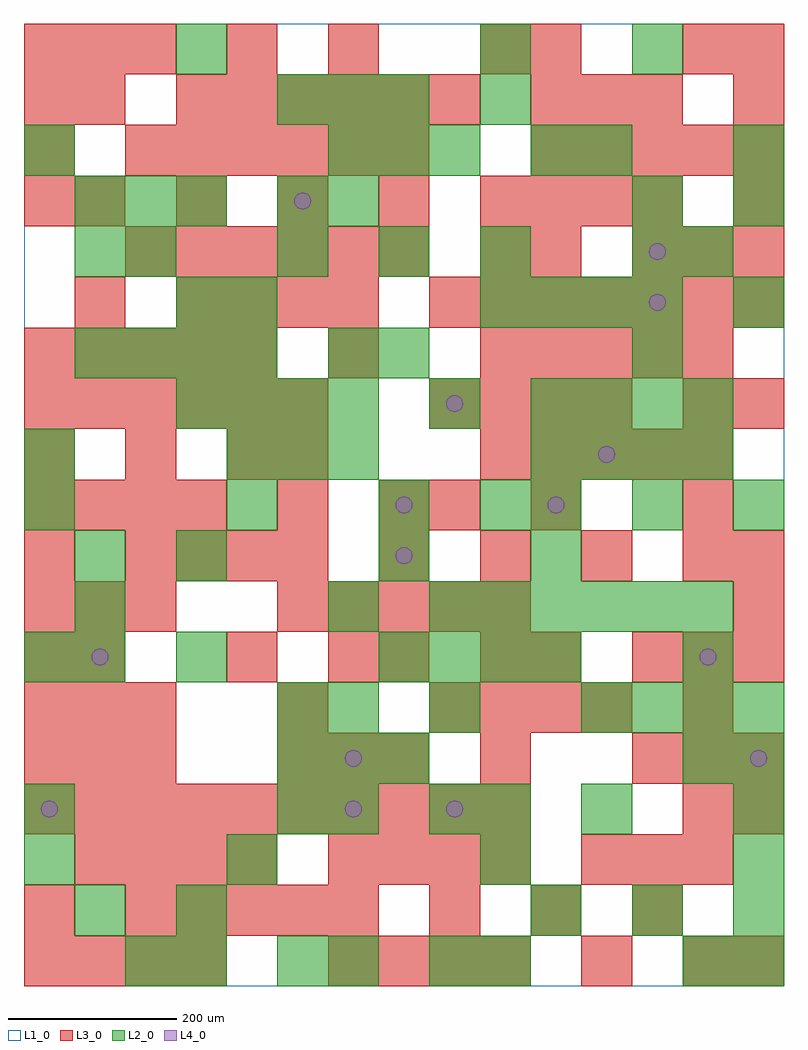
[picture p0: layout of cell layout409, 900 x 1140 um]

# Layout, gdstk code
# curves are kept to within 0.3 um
import gdstk
lib = gdstk.Library(unit=1e-6, precision=1e-09)
def R(c, l, rs):  # rectangles x0, y0, x1, y1
    for r in rs: c.add(gdstk.rectangle(r[:2], r[2:], *l))
def A(c, l, x, y, w, h, nx, ny, dx, dy):  # array of equal rectangles
    R(c, l, [(x+i*dx, y+j*dy, x+i*dx+w, y+j*dy+h) for i in range(nx) for j in range(ny)])
def P(c, l, *ps):  # polygons
    for p in ps: c.add(gdstk.Polygon(p, *l))
L1_0 = (1, 0)
L2_0 = (2, 0)
L3_0 = (3, 0)
L4_0 = (4, 0)

layout409 = lib.new_cell('layout409')
R(layout409, L1_0, [(0,0,900,1140)])
A(layout409, L2_0, 600, 60, 60, 60, 3, 2, 120, 480)
A(layout409, L2_0, 240, 120, 60, 60, 3, 1, 300, 0)
A(layout409, L2_0, 0, 180, 60, 60, 1, 3, 0, 180)
A(layout409, L2_0, 360, 180, 60, 60, 1, 3, 0, 120)
A(layout409, L2_0, 300, 240, 60, 60, 3, 2, 60, 780)
A(layout409, L2_0, 660, 300, 60, 60, 4, 1, 60, 0)
A(layout409, L2_0, 60, 360, 60, 60, 1, 3, 0, 60)
A(layout409, L2_0, 420, 360, 60, 60, 4, 1, 60, 0)
A(layout409, L2_0, 480, 420, 60, 60, 6, 1, 60, 0)
A(layout409, L2_0, 180, 480, 60, 60, 1, 3, 0, 300)
A(layout409, L2_0, 240, 600, 60, 60, 3, 1, 60, 0)
A(layout409, L2_0, 600, 600, 60, 60, 4, 2, 60, 60)
A(layout409, L2_0, 180, 660, 60, 60, 4, 1, 60, 0)
A(layout409, L2_0, 60, 720, 60, 60, 4, 1, 60, 0)
A(layout409, L2_0, 540, 780, 60, 60, 4, 1, 60, 0)
A(layout409, L2_0, 300, 840, 60, 60, 3, 1, 120, 0)
A(layout409, L2_0, 60, 900, 60, 60, 3, 1, 60, 0)
A(layout409, L2_0, 360, 960, 60, 60, 3, 1, 60, 0)
R(layout409, L2_0, [(120,0,180,60), (180,0,240,60), (300,0,360,60), (360,0,420,60), (480,0,540,60), (540,0,600,60), (780,0,840,60), (840,0,900,60), (60,60,120,120), (180,60,240,120), (0,120,60,180), (300,180,360,240), (480,180,540,240), (540,180,600,240), (660,180,720,240), (840,180,900,240), (780,240,840,300), (840,240,900,300), (300,300,360,360), (480,300,540,360), (180,360,240,420), (780,360,840,420), (420,480,480,540), (600,480,660,540), (240,540,300,600), (420,540,480,600), (540,540,600,600), (0,600,60,660), (480,660,540,720), (360,720,420,780), (420,720,480,780), (720,720,780,780), (240,780,300,840), (840,780,900,840), (60,840,120,900), (120,840,180,900), (720,840,780,900), (780,840,840,900), (300,900,360,960), (360,900,420,960), (720,900,780,960), (840,900,900,960), (0,960,60,1020), (600,960,660,1020), (660,960,720,1020), (840,960,900,1020), (540,1020,600,1080), (540,1080,600,1140), (720,1080,780,1140)])
A(layout409, L3_0, 0, 0, 60, 60, 4, 2, 60, 540)
A(layout409, L3_0, 360, 0, 60, 60, 4, 2, 60, 120)
A(layout409, L3_0, 120, 60, 60, 60, 5, 1, 60, 0)
A(layout409, L3_0, 480, 60, 60, 60, 3, 1, 120, 0)
A(layout409, L3_0, 60, 120, 60, 60, 4, 1, 60, 0)
A(layout409, L3_0, 660, 120, 60, 60, 3, 1, 60, 0)
A(layout409, L3_0, 0, 180, 60, 60, 10, 1, 60, 0)
A(layout409, L3_0, 0, 240, 60, 60, 3, 2, 60, 60)
A(layout409, L3_0, 300, 240, 60, 60, 3, 1, 60, 0)
A(layout409, L3_0, 720, 240, 60, 60, 3, 2, 60, 120)
A(layout409, L3_0, 480, 300, 60, 60, 4, 2, 60, 360)
A(layout409, L3_0, 360, 360, 60, 60, 1, 3, 0, 360)
A(layout409, L3_0, 0, 420, 60, 60, 3, 2, 60, 660)
A(layout409, L3_0, 300, 420, 60, 60, 5, 1, 60, 0)
A(layout409, L3_0, 120, 480, 60, 60, 4, 1, 60, 0)
A(layout409, L3_0, 420, 480, 60, 60, 4, 1, 120, 0)
A(layout409, L3_0, 0, 600, 60, 60, 3, 1, 120, 0)
A(layout409, L3_0, 540, 600, 60, 60, 5, 2, 60, 120)
A(layout409, L3_0, 0, 660, 60, 60, 6, 1, 60, 0)
A(layout409, L3_0, 0, 720, 60, 60, 5, 1, 60, 0)
A(layout409, L3_0, 180, 780, 60, 60, 4, 1, 60, 0)
A(layout409, L3_0, 480, 780, 60, 60, 7, 1, 60, 0)
A(layout409, L3_0, 120, 840, 60, 60, 6, 2, 60, 120)
A(layout409, L3_0, 720, 840, 60, 60, 3, 1, 60, 0)
A(layout409, L3_0, 0, 900, 60, 60, 1, 3, 0, 60)
A(layout409, L3_0, 60, 900, 60, 60, 5, 1, 120, 0)
A(layout409, L3_0, 600, 900, 60, 60, 3, 2, 60, 120)
A(layout409, L3_0, 600, 960, 60, 60, 5, 1, 60, 0)
A(layout409, L3_0, 180, 1020, 60, 60, 6, 1, 60, 0)
R(layout409, L3_0, [(660,0,720,60), (780,0,840,60), (840,0,900,60), (0,60,60,120), (780,180,840,240), (840,180,900,240), (540,240,600,300), (300,300,360,360), (780,300,840,360), (0,360,60,420), (60,360,120,420), (240,360,300,420), (420,360,480,420), (540,360,600,420), (600,360,660,420), (840,420,900,480), (0,480,60,540), (840,480,900,540), (300,540,360,600), (420,540,480,600), (480,540,540,600), (600,540,660,600), (780,540,840,600), (300,600,360,660), (780,660,840,720), (840,660,900,720), (60,780,120,840), (540,840,600,900), (600,840,660,900), (840,900,900,960), (60,1020,120,1080), (840,1020,900,1080), (240,1080,300,1140), (540,1080,600,1140), (600,1080,660,1140), (780,1080,840,1140), (840,1080,900,1140)])
P(layout409, L4_0, [(40,210),(39.239,213.827),(37.071,217.071),(33.827,219.239),(30,220),(26.173,219.239),(22.929,217.071),(20.761,213.827),(20,210),(20.761,206.173),(22.929,202.929),(26.173,200.761),(30,200),(33.827,200.761),(37.071,202.929),(39.239,206.173)],
  [(100,390),(99.239,393.827),(97.071,397.071),(93.827,399.239),(90,400),(86.173,399.239),(82.929,397.071),(80.761,393.827),(80,390),(80.761,386.173),(82.929,382.929),(86.173,380.761),(90,380),(93.827,380.761),(97.071,382.929),(99.239,386.173)],
  [(340,930),(339.239,933.827),(337.071,937.071),(333.827,939.239),(330,940),(326.173,939.239),(322.929,937.071),(320.761,933.827),(320,930),(320.761,926.173),(322.929,922.929),(326.173,920.761),(330,920),(333.827,920.761),(337.071,922.929),(339.239,926.173)],
  [(400,210),(399.239,213.827),(397.071,217.071),(393.827,219.239),(390,220),(386.173,219.239),(382.929,217.071),(380.761,213.827),(380,210),(380.761,206.173),(382.929,202.929),(386.173,200.761),(390,200),(393.827,200.761),(397.071,202.929),(399.239,206.173)],
  [(400,270),(399.239,273.827),(397.071,277.071),(393.827,279.239),(390,280),(386.173,279.239),(382.929,277.071),(380.761,273.827),(380,270),(380.761,266.173),(382.929,262.929),(386.173,260.761),(390,260),(393.827,260.761),(397.071,262.929),(399.239,266.173)],
  [(460,510),(459.239,513.827),(457.071,517.071),(453.827,519.239),(450,520),(446.173,519.239),(442.929,517.071),(440.761,513.827),(440,510),(440.761,506.173),(442.929,502.929),(446.173,500.761),(450,500),(453.827,500.761),(457.071,502.929),(459.239,506.173)],
  [(460,570),(459.239,573.827),(457.071,577.071),(453.827,579.239),(450,580),(446.173,579.239),(442.929,577.071),(440.761,573.827),(440,570),(440.761,566.173),(442.929,562.929),(446.173,560.761),(450,560),(453.827,560.761),(457.071,562.929),(459.239,566.173)],
  [(520,210),(519.239,213.827),(517.071,217.071),(513.827,219.239),(510,220),(506.173,219.239),(502.929,217.071),(500.761,213.827),(500,210),(500.761,206.173),(502.929,202.929),(506.173,200.761),(510,200),(513.827,200.761),(517.071,202.929),(519.239,206.173)],
  [(520,690),(519.239,693.827),(517.071,697.071),(513.827,699.239),(510,700),(506.173,699.239),(502.929,697.071),(500.761,693.827),(500,690),(500.761,686.173),(502.929,682.929),(506.173,680.761),(510,680),(513.827,680.761),(517.071,682.929),(519.239,686.173)],
  [(640,570),(639.239,573.827),(637.071,577.071),(633.827,579.239),(630,580),(626.173,579.239),(622.929,577.071),(620.761,573.827),(620,570),(620.761,566.173),(622.929,562.929),(626.173,560.761),(630,560),(633.827,560.761),(637.071,562.929),(639.239,566.173)],
  [(700,630),(699.239,633.827),(697.071,637.071),(693.827,639.239),(690,640),(686.173,639.239),(682.929,637.071),(680.761,633.827),(680,630),(680.761,626.173),(682.929,622.929),(686.173,620.761),(690,620),(693.827,620.761),(697.071,622.929),(699.239,626.173)],
  [(760,810),(759.239,813.827),(757.071,817.071),(753.827,819.239),(750,820),(746.173,819.239),(742.929,817.071),(740.761,813.827),(740,810),(740.761,806.173),(742.929,802.929),(746.173,800.761),(750,800),(753.827,800.761),(757.071,802.929),(759.239,806.173)],
  [(760,870),(759.239,873.827),(757.071,877.071),(753.827,879.239),(750,880),(746.173,879.239),(742.929,877.071),(740.761,873.827),(740,870),(740.761,866.173),(742.929,862.929),(746.173,860.761),(750,860),(753.827,860.761),(757.071,862.929),(759.239,866.173)],
  [(820,390),(819.239,393.827),(817.071,397.071),(813.827,399.239),(810,400),(806.173,399.239),(802.929,397.071),(800.761,393.827),(800,390),(800.761,386.173),(802.929,382.929),(806.173,380.761),(810,380),(813.827,380.761),(817.071,382.929),(819.239,386.173)],
  [(880,270),(879.239,273.827),(877.071,277.071),(873.827,279.239),(870,280),(866.173,279.239),(862.929,277.071),(860.761,273.827),(860,270),(860.761,266.173),(862.929,262.929),(866.173,260.761),(870,260),(873.827,260.761),(877.071,262.929),(879.239,266.173)])

lib.write_gds('layout409.gds')
